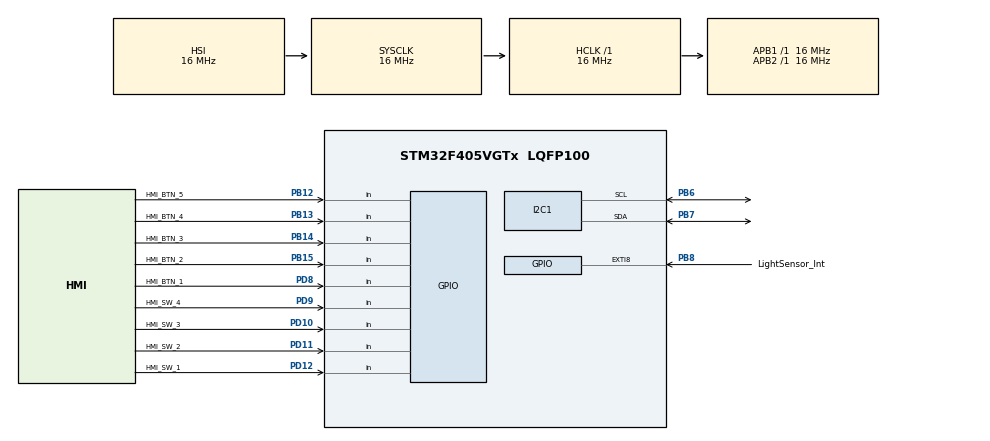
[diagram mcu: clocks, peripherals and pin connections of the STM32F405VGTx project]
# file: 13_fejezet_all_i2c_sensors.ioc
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Mcu.Family=STM32F4
PD12.GPIO_Label=HMI_SW_1
PH0-OSC_IN.Signal=RCC_OSC_IN
RCC.CortexFreq_Value=16000000
PD9.GPIO_Label=HMI_SW_4
PB14.GPIO_Label=HMI_BTN_3
PD9.Signal=GPIO_Input
PB13.GPIO_Label=HMI_BTN_4
PB15.Signal=GPIO_Input
PB13.Signal=GPIO_Input
ProjectManager.StackSize=0x400
PD8.GPIO_Label=HMI_BTN_1
PD10.Signal=GPIO_Input
PA13.Signal=SYS_JTMS-SWDIO
PB8.GPIO_Label=LightSensor_Int
ProjectManager.TargetToolchain=STM32CubeIDE
PD11.GPIO_Label=HMI_SW_2
RCC.HCLKFreq_Value=16000000
RCC.APB2TimFreq_Value=16000000
PB6.Signal=I2C1_SCL
PB6.Mode=I2C
PD8.Signal=GPIO_Input
PD10.GPIO_Label=HMI_SW_3
RCC.LSE_VALUE=32768
RCC.AHBFreq_Value=16000000
PH0-OSC_IN.Mode=HSE-External-Oscillator
PB14.Signal=GPIO_Input
RCC.HSE_VALUE=8000000
PB3.Mode=JTAG_4_pins
board=custom
RCC.VCOOutputFreq_Value=192000000
PA15.Mode=JTAG_4_pins
PB12.GPIO_Label=HMI_BTN_5
RCC.APB2Freq_Value=16000000
PB15.GPIO_Label=HMI_BTN_2
PA14.Mode=JTAG_4_pins
PH1-OSC_OUT.Signal=RCC_OSC_OUT
PB7.Signal=I2C1_SDA
PA13.Mode=JTAG_4_pins
Mcu.Name=STM32F405VGTx
PH1-OSC_OUT.Mode=HSE-External-Oscillator
PB3.Signal=SYS_JTDO-SWO
RCC.SYSCLKFreq_VALUE=16000000
Mcu.Package=LQFP100
PD11.Signal=GPIO_Input
PD12.Signal=GPIO_Input
PB7.Mode=I2C
NVIC.EXTI9_5_IRQn=true\:0\:0\:false\:false\:true\:true\:true
PA14.Signal=SYS_JTCK-SWCLK
PA15.Signal=SYS_JTDI
ProjectManager.HeapSize=0x200
RCC.HSI_VALUE=16000000
NVIC.PriorityGroup=NVIC_PRIORITYGROUP_4
RCC.APB1TimFreq_Value=16000000
PB8.Signal=GPXTI8
RCC.APB1Freq_Value=16000000
PB12.Signal=GPIO_Input

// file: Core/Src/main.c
/* USER CODE BEGIN Header */
/**
  ******************************************************************************
  * @file           : main.c
  * @brief          : Main program body
  ******************************************************************************
  * @attention
  *
  * <h2><center>&copy; Copyright (c) 2021 STMicroelectronics.
  * All rights reserved.</center></h2>
  *
  * This software component is licensed by ST under BSD 3-Clause license,
  * the "License"; You may not use this file except in compliance with the
  * License. You may obtain a copy of the License at:
  *                        opensource.org/licenses/BSD-3-Clause
  *
  ******************************************************************************
  */
/* USER CODE END Header */
#include "main.h"
#include "i2c.h"

/* USER CODE BEGIN Includes */

#include "OLED.h"
#include "humidity_sensor.h"
#include "light_sensor.h"
#include "temperature_sensor.h"
#include <stdio.h>

/* USER CODE END Includes */

void SystemClock_Config(void);

/* USER CODE BEGIN 0 */

void HAL_GPIO_EXTI_Callback(uint16_t GPIO_Pin)
{
}

/* USER CODE END 0 */

int main(void)
{

  /* MCU Configuration--------------------------------------------------------*/

  /* Reset of all peripherals, Initializes the Flash interface and the Systick. */
  HAL_Init();

  /* Configure the system clock */
  SystemClock_Config();

  /* Initialize all configured peripherals */
  MX_I2C1_Init();
  /* USER CODE BEGIN 2 */

  // Pergésmentesítő kódrészlet a 7. tananyagrészből
#define DEBOUNCING_TRESHOLD 20

  uint8_t count_debounce = 0;
  uint8_t previous_state_debounce;
  uint8_t current_state_debounce = HAL_GPIO_ReadPin(HMI_BTN_3_GPIO_Port, HMI_BTN_3_Pin);

  uint8_t previous_state_edge = HAL_GPIO_ReadPin(HMI_BTN_3_GPIO_Port, HMI_BTN_3_Pin);
  uint8_t counter = 0x01;

  // OLED kijelző inicializálás a beolvasott lm_temperature kijelzéshez
   OLED_Init();

   // Fényszenzor
   // A mért fényerősség tárolása
   float lightLevel;
   uint16_t channel_0;
   uint16_t channel_1;

   // Karaktertömb a mért fényerősség kijelzésére
   char lightLevel_char[18];
   uint16_t lightlevel_integer;
   uint16_t lightlevel_fractional;
   char channels_char[18];

   // A fényérzékelő I2C slave címének beállítása
   //LightSensor_SetAddress(LightSensor_ADDR_VDD);
   LightSensor_SetAddress(LightSensor_ADDR_FLOAT);
   //LightSensor_SetAddress(LightSensor_ADDR_GND);

   // Fényérzékelő inicializálása
   LightSensor_SetPowerState(LightSensor_POWER_ON);
   LightSensor_SetGain(LightSensor_GAIN_16X);
   LightSensor_SetIntegrationTime(LightSensor_INTEG_101m);

   // Hőmérséklet érzékelő
   // Változó a mért hih_temperature érték eltárolására
   float lm_temperature;
   uint16_t lm_temperature_int;
   uint16_t lm_temperature_frac;

   // Character array for displaying the measured hih_temperature
   // Karaktertömb a mért hőmérséklet kijelzésére
   char lm_temperature_char[20];

   /*
    * Az IC túlmelegedési leállításának használata
    * (LED az LM75A IC mellett)
    */
   // Túlhőmérsékleti küszöbérték (bekapcsolás) beállítása 28 Celsius-fokra
   LM75A_SetOSTemperature(28);
   // Túlhőmérsékleti hiszterézis (kikapcsolás) beállítása 27 Celsius-fokra
   LM75A_SetOSHysteresis(27);

   // Páratartalom érzékelő
   // Mért érték tárolása
   float humidityLevel;
   float hih_temperature;

   // Karaktertömb a mért páratartalom kijelzésére
   int string_length = 20;
   char humidityLevel_char[string_length];
   char hih_temperature_char[string_length];

  /* USER CODE END 2 */

  /* Infinite loop */
  /* USER CODE BEGIN WHILE */
  while (1)
  {
		count_debounce = 0;
		while (count_debounce < DEBOUNCING_TRESHOLD)
		{
			previous_state_debounce = current_state_debounce;
			current_state_debounce = HAL_GPIO_ReadPin(HMI_BTN_3_GPIO_Port, HMI_BTN_3_Pin);
			if (previous_state_debounce == current_state_debounce)
			{
				count_debounce++;
			}
			else
			{
				count_debounce = 0;
			}
		}
		if(current_state_debounce && !previous_state_edge)
		{
			counter <<= 1;
			if (counter == 0x10)
			{
			  counter = 0x01;
			}
		}
		previous_state_edge = current_state_debounce;

		// Fényérzékelő
		if (counter == 0x01)
		{
			// Beolvasás
			LightSensor_GetLightLevel(&lightLevel);
			LightSensor_GetCH0Value(&channel_0);
			LightSensor_GetCH1Value(&channel_1);

			// Sztring konverzió
			lightlevel_integer = (uint16_t)lightLevel;
			lightlevel_fractional = (uint16_t)(lightLevel * 100) - 100 * (uint16_t)lightLevel;
			sprintf(lightLevel_char, "%d.%d lux", lightlevel_integer, lightlevel_fractional);
			sprintf(channels_char, "%d, %d", channel_0, channel_1);

			OLED_Fill(Black);

			OLED_SetCursor(2, 0);
			OLED_WriteString("Illuminance:", Font_7x10, White);
			OLED_SetCursor(2, 10);
			OLED_WriteString(lightLevel_char, Font_7x10, White);

			OLED_SetCursor(2, 10+10);
			OLED_WriteString("Channel 0, 1:", Font_7x10, White);
			OLED_SetCursor(2, 10+10+10);
			OLED_WriteString(channels_char, Font_7x10, White);
		}
		else if(counter == 0x02)
		{
			// Hőmérséklet érzékelő
			// Szenzor beolvasás
			LM75A_GetTemperature(&lm_temperature);

			// Float érték sztringgé alakítása. Az egész és a tört rész külön van kezelve.
			lm_temperature_int = (uint16_t)lm_temperature;
			lm_temperature_frac = (uint16_t)(lm_temperature * 100) - 100 * (uint16_t)lm_temperature;
			sprintf(lm_temperature_char, "%d.%d C", lm_temperature_int, lm_temperature_frac);

			// Kijelző frissítés
			OLED_Fill(Black);
			OLED_SetCursor(2, 0);
			OLED_WriteString("Temperature:", Font_7x10, White);
		    OLED_SetCursor(2, 10);
		    OLED_WriteString(lm_temperature_char, Font_7x10, White);
		    // A °C jelben a kör pozíciója a kijelzett szám törtrészének hosszától függ
		    if (lm_temperature_char[4] == ' ')
		    {
		    	OLED_DrawCircle(33, 12, 2, White);
		    }
		    else
		    {
		    	OLED_DrawCircle(40, 12, 2, White);
		    }
		}
		else if (counter == 0x04)
		{
			/*
			 * Szenzor beolvasás és adatkonverzió
			 * Az egészrész és a törtrész konverziója külön történik,
			 * mivel az (uint16_t) kasztolás ignorálja a törtrészét a float típusú számnak.
			 */
			HumTempSensor_GetValues(&humidityLevel, &hih_temperature);
			sprintf(humidityLevel_char, "%d.%d%%", (uint16_t)humidityLevel, (uint16_t)(humidityLevel * 100) - ((uint16_t)humidityLevel) * 100);
			sprintf(hih_temperature_char, "%d.%d C", (uint16_t)hih_temperature, (uint16_t)(hih_temperature * 100) - ((uint16_t)hih_temperature) * 100 );

			// Kijelző frissítés
			OLED_Fill(Black);

			OLED_SetCursor(2, 0);
			OLED_WriteString("Relative humidity:", Font_7x10, White);
			OLED_SetCursor(2, 10);
			OLED_WriteString(humidityLevel_char, Font_7x10, White);
			OLED_SetCursor(2, 10+10);
			OLED_WriteString("Temperature:", Font_7x10, White);
			OLED_SetCursor(2, 10+10+10);
			OLED_WriteString(hih_temperature_char, Font_7x10, White);
			// A °C jelben a kör pozíciója a kijelzett szám törtrészének hosszától függ
			if (hih_temperature_char[4] == ' ')
			{
				OLED_DrawCircle(33, 32, 2, White);
			}
			else
			{
				OLED_DrawCircle(40, 32, 2, White);
			}
		}
		else if (counter == 0x08)
		{
			// Hőmérséklet érzékelő
			// Hőmérséklet beolvasás
			LM75A_GetTemperature(&lm_temperature);

			// Float érték sztringgé alakítása. Az egész és a tört rész külön van kezelve.
			lm_temperature_int = (uint16_t)lm_temperature;
			lm_temperature_frac = (uint16_t)(lm_temperature * 100) - 100 * (uint16_t)lm_temperature;
			sprintf(lm_temperature_char, "%d.%d C", lm_temperature_int, lm_temperature_frac);

			// Páratartalom érzékelő

			HumTempSensor_GetValues(&humidityLevel, &hih_temperature);
			sprintf(hih_temperature_char, "%d.%d C", (uint16_t)hih_temperature, (uint16_t)(hih_temperature * 100) - ((uint16_t)hih_temperature) * 100 );

			// Kijelző frissítés
			OLED_Fill(Black);
			OLED_SetCursor(2, 0);
			OLED_WriteString("LM75:", Font_7x10, White);
		    OLED_SetCursor(2, 10);
		    OLED_WriteString(lm_temperature_char, Font_7x10, White);
		    // A °C jelben a kör pozíciója a kijelzett szám törtrészének hosszától függ
		    if (lm_temperature_char[4] == ' ')
		    {
		    	OLED_DrawCircle(33, 12, 2, White);
		    }
		    else
		    {
		    	OLED_DrawCircle(40, 12, 2, White);
		    }
			OLED_SetCursor(2, 20);
			OLED_WriteString("HIH8120:", Font_7x10, White);
		    OLED_SetCursor(2, 30);
		    OLED_WriteString(hih_temperature_char, Font_7x10, White);
		    // A °C jelben a kör pozíciója a kijelzett szám törtrészének hosszától függ
		    if (hih_temperature_char[4] == ' ')
		    {
		    	OLED_DrawCircle(33, 32, 2, White);
		    }
		    else
		    {
		    	OLED_DrawCircle(40, 32, 2, White);
		    }
		}
		else
		{
			OLED_Fill(Black);

		}
		OLED_UpdateScreen();

    /* USER CODE END WHILE */

  }
}

void SystemClock_Config(void)
{
  RCC_OscInitTypeDef RCC_OscInitStruct = {0};
  RCC_ClkInitTypeDef RCC_ClkInitStruct = {0};

  /** Configure the main internal regulator output voltage
  */
  __HAL_RCC_PWR_CLK_ENABLE();
  __HAL_PWR_VOLTAGESCALING_CONFIG(PWR_REGULATOR_VOLTAGE_SCALE1);
  /** Initializes the RCC Oscillators according to the specified parameters
  * in the RCC_OscInitTypeDef structure.
  */
  RCC_OscInitStruct.OscillatorType = RCC_OSCILLATORTYPE_HSI;
  RCC_OscInitStruct.HSIState = RCC_HSI_ON;
  RCC_OscInitStruct.HSICalibrationValue = RCC_HSICALIBRATION_DEFAULT;
  RCC_OscInitStruct.PLL.PLLState = RCC_PLL_NONE;
  if (HAL_RCC_OscConfig(&RCC_OscInitStruct) != HAL_OK)
  {
    Error_Handler();
  }
  /** Initializes the CPU, AHB and APB buses clocks
  */
  RCC_ClkInitStruct.ClockType = RCC_CLOCKTYPE_HCLK|RCC_CLOCKTYPE_SYSCLK
                              |RCC_CLOCKTYPE_PCLK1|RCC_CLOCKTYPE_PCLK2;
  RCC_ClkInitStruct.SYSCLKSource = RCC_SYSCLKSOURCE_HSI;
  RCC_ClkInitStruct.AHBCLKDivider = RCC_SYSCLK_DIV1;
  RCC_ClkInitStruct.APB1CLKDivider = RCC_HCLK_DIV1;
  RCC_ClkInitStruct.APB2CLKDivider = RCC_HCLK_DIV1;

  if (HAL_RCC_ClockConfig(&RCC_ClkInitStruct, FLASH_LATENCY_0) != HAL_OK)
  {
    Error_Handler();
  }
}

void Error_Handler(void)
{
  __disable_irq();
  while (1)
  {
  }
}

/************************ (C) COPYRIGHT STMicroelectronics *****END OF FILE****/
